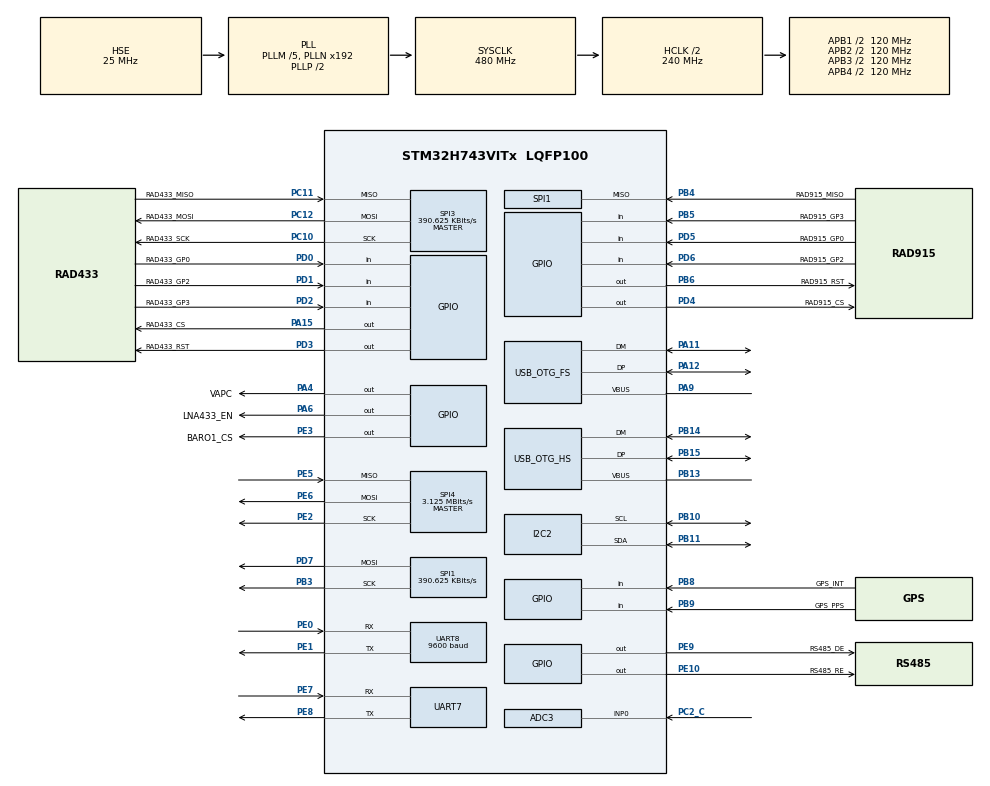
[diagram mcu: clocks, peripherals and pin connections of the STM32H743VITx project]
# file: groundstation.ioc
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ADC3.Channel-0\#ChannelRegularConversion=ADC_CHANNEL_0
ADC3.NbrOfConversionFlag=1
ADC3.OffsetNumber-0\#ChannelRegularConversion=ADC_OFFSET_NONE
ADC3.OffsetSignedSaturation-0\#ChannelRegularConversion=DISABLE
ADC3.Rank-0\#ChannelRegularConversion=1
ADC3.SamplingTime-0\#ChannelRegularConversion=ADC_SAMPLETIME_1CYCLE_5
Dma.Request0=UART8_RX
Dma.UART8_RX.0.Direction=DMA_PERIPH_TO_MEMORY
Dma.UART8_RX.0.EventEnable=DISABLE
Dma.UART8_RX.0.FIFOMode=DMA_FIFOMODE_DISABLE
Dma.UART8_RX.0.Instance=DMA1_Stream0
Dma.UART8_RX.0.MemDataAlignment=DMA_MDATAALIGN_BYTE
Dma.UART8_RX.0.MemInc=DMA_MINC_ENABLE
Dma.UART8_RX.0.Mode=DMA_NORMAL
Dma.UART8_RX.0.PeriphDataAlignment=DMA_PDATAALIGN_BYTE
Dma.UART8_RX.0.PeriphInc=DMA_PINC_DISABLE
Dma.UART8_RX.0.Polarity=HAL_DMAMUX_REQ_GEN_RISING
Dma.UART8_RX.0.Priority=DMA_PRIORITY_LOW
Dma.UART8_RX.0.RequestNumber=1
Dma.UART8_RX.0.SignalID=NONE
Dma.UART8_RX.0.SyncEnable=DISABLE
Dma.UART8_RX.0.SyncPolarity=HAL_DMAMUX_SYNC_NO_EVENT
Dma.UART8_RX.0.SyncRequestNumber=1
Dma.UART8_RX.0.SyncSignalID=NONE
I2C2.Timing=0x307075B1
IWDG1.Prescaler=IWDG_PRESCALER_128
IWDG1.Reload=1249
Mcu.Family=STM32H7
Mcu.Name=STM32H743VITx
Mcu.Package=LQFP100
NVIC.DMA1_Stream0_IRQn=true\:0\:0\:false\:false\:true\:false\:true\:true
NVIC.OTG_FS_IRQn=true\:0\:0\:false\:false\:true\:false\:true\:true
NVIC.OTG_HS_IRQn=true\:0\:0\:false\:false\:true\:false\:true\:true
NVIC.PriorityGroup=NVIC_PRIORITYGROUP_4
NVIC.UART8_IRQn=true\:0\:0\:false\:false\:true\:true\:true\:true
PA11.Mode=Device_Only
PA11.Signal=USB_OTG_FS_DM
PA12.Mode=Device_Only
PA12.Signal=USB_OTG_FS_DP
PA13\ (JTMS/SWDIO).Mode=Serial_Wire
PA13\ (JTMS/SWDIO).Signal=DEBUG_JTMS-SWDIO
PA14\ (JTCK/SWCLK).Mode=Serial_Wire
PA14\ (JTCK/SWCLK).Signal=DEBUG_JTCK-SWCLK
PA15\ (JTDI).GPIO_Label=RAD433_CS
PA15\ (JTDI).Signal=GPIO_Output
PA4.GPIO_Label=VAPC
PA4.Signal=GPIO_Output
PA6.GPIO_Label=LNA433_EN
PA6.PinAttribute=Free
PA6.Signal=GPIO_Output
PA9.Mode=Activate_VBUS
PA9.Signal=USB_OTG_FS_VBUS
PB10.Mode=I2C
PB10.Signal=I2C2_SCL
PB11.Mode=I2C
PB11.Signal=I2C2_SDA
PB13.Mode=Activate_VBUS_FS
PB13.Signal=USB_OTG_HS_VBUS
PB14.Mode=Device_Only_FS
PB14.PinAttribute=Free
PB14.Signal=USB_OTG_HS_DM
PB15.Mode=Device_Only_FS
PB15.PinAttribute=Free
PB15.Signal=USB_OTG_HS_DP
PB3\ (JTDO/TRACESWO).Mode=Full_Duplex_Master
PB3\ (JTDO/TRACESWO).PinAttribute=Free
PB3\ (JTDO/TRACESWO).Signal=SPI1_SCK
PB4\ (NJTRST).GPIO_Label=RAD915_MISO
PB4\ (NJTRST).Mode=Full_Duplex_Master
PB4\ (NJTRST).Signal=SPI1_MISO
PB5.GPIO_Label=RAD915_GP3
PB5.PinAttribute=Free
PB5.Signal=GPIO_Input
PB6.GPIO_Label=RAD915_RST
PB6.PinAttribute=Free
PB6.Signal=GPIO_Output
PB8.GPIO_Label=GPS_INT
PB8.PinAttribute=Free
PB8.Signal=GPIO_Input
PB9.GPIO_Label=GPS_PPS
PB9.PinAttribute=Free
PB9.Signal=GPIO_Input
PC10.GPIO_Label=RAD433_SCK
PC10.Mode=Full_Duplex_Master
PC10.PinAttribute=Free
PC10.Signal=SPI3_SCK
PC11.GPIO_Label=RAD433_MISO
PC11.Mode=Full_Duplex_Master
PC11.PinAttribute=Free
PC11.Signal=SPI3_MISO
PC12.GPIO_Label=RAD433_MOSI
PC12.Mode=Full_Duplex_Master
PC12.PinAttribute=Free
PC12.Signal=SPI3_MOSI
PC14-OSC32_IN\ (OSC32_IN).Mode=LSE-External-Oscillator
PC14-OSC32_IN\ (OSC32_IN).PinAttribute=Free
PC14-OSC32_IN\ (OSC32_IN).Signal=RCC_OSC32_IN
PC15-OSC32_OUT\ (OSC32_OUT).Mode=LSE-External-Oscillator
PC15-OSC32_OUT\ (OSC32_OUT).PinAttribute=Free
PC15-OSC32_OUT\ (OSC32_OUT).Signal=RCC_OSC32_OUT
PC2_C.Mode=IN0-Single-Ended
PC2_C.Signal=ADC3_INP0
PD0.GPIO_Label=RAD433_GP0
PD0.PinAttribute=Free
PD0.Signal=GPIO_Input
PD1.GPIO_Label=RAD433_GP2
PD1.Signal=GPIO_Input
PD2.GPIO_Label=RAD433_GP3
PD2.PinAttribute=Free
PD2.Signal=GPIO_Input
PD3.GPIO_Label=RAD433_RST
PD3.PinAttribute=Free
PD3.Signal=GPIO_Output
PD4.GPIO_Label=RAD915_CS
PD4.PinAttribute=Free
PD4.Signal=GPIO_Output
PD5.GPIO_Label=RAD915_GP0
PD5.PinAttribute=Free
PD5.Signal=GPIO_Input
PD6.GPIO_Label=RAD915_GP2
PD6.PinAttribute=Free
PD6.Signal=GPIO_Input
PD7.Mode=Full_Duplex_Master
PD7.Signal=SPI1_MOSI
PE0.Mode=Asynchronous
PE0.PinAttribute=Free
PE0.Signal=UART8_RX
PE1.Mode=Asynchronous
PE1.PinAttribute=Free
PE1.Signal=UART8_TX
PE10.GPIO_Label=RS485_RE
PE10.PinAttribute=Free
PE10.Signal=GPIO_Output
PE2.Mode=Full_Duplex_Master
PE2.PinAttribute=Free
PE2.Signal=SPI4_SCK
PE3.GPIO_Label=BARO1_CS
PE3.PinAttribute=Free
PE3.Signal=GPIO_Output
PE5.Mode=Full_Duplex_Master
PE5.PinAttribute=Free
PE5.Signal=SPI4_MISO
PE6.Mode=Full_Duplex_Master
PE6.Signal=SPI4_MOSI
PE7.Mode=Asynchronous
PE7.PinAttribute=Free
PE7.Signal=UART7_RX
PE8.Mode=Asynchronous
PE8.PinAttribute=Free
PE8.Signal=UART7_TX
PE9.GPIO_Label=RS485_DE
PE9.PinAttribute=Free
PE9.Signal=GPIO_Output
PH0-OSC_IN\ (PH0).Mode=HSE-External-Oscillator
PH0-OSC_IN\ (PH0).Signal=RCC_OSC_IN
PH1-OSC_OUT\ (PH1).Mode=HSE-External-Oscillator
PH1-OSC_OUT\ (PH1).Signal=RCC_OSC_OUT
ProjectManager.HeapSize=0x200
ProjectManager.StackSize=0x400
ProjectManager.TargetToolchain=STM32CubeIDE
RCC.ADCCLockSelection=RCC_ADCCLKSOURCE_CLKP
RCC.ADCFreq_Value=64000000
RCC.APB1Freq_Value=120000000
RCC.APB2Freq_Value=120000000
RCC.APB3Freq_Value=120000000
RCC.APB4Freq_Value=120000000
RCC.CortexFreq_Value=480000000
RCC.D1PPRE=RCC_APB3_DIV2
RCC.D2PPRE1=RCC_APB1_DIV2
RCC.D2PPRE2=RCC_APB2_DIV2
RCC.D3PPRE=RCC_APB4_DIV2
RCC.DIVM1=5
RCC.DIVM2=5
RCC.DIVM3=25
RCC.DIVN1=192
RCC.DIVN2=40
RCC.DIVN3=192
RCC.DIVP3=1
RCC.DIVQ3=4
RCC.HCLKFreq_Value=240000000
RCC.HPRE=RCC_HCLK_DIV2
RCC.HSE_VALUE=25000000
RCC.PLL1_VCI_Range-AdvancedSettings=RCC_PLL1VCIRANGE_3
RCC.PLL2FRACN=0
RCC.PLL3FRACN=0
RCC.PLLFRACN=0
RCC.PLLSourceVirtual=RCC_PLLSOURCE_HSE
RCC.SPI123CLockSelection=RCC_SPI123CLKSOURCE_PLL2
RCC.SYSCLKFreq_VALUE=480000000
RCC.SYSCLKSource=RCC_SYSCLKSOURCE_PLLCLK
RCC.Spi45ClockSelection=RCC_SPI45CLKSOURCE_PLL2
RCC.USART234578CLockSelection=RCC_USART234578CLKSOURCE_PLL2
RCC.USBCLockSelection=RCC_USBCLKSOURCE_PLL3
RCC.USBFreq_Value=48000000
SPI1.BaudRatePrescaler=SPI_BAUDRATEPRESCALER_256
SPI1.CalculateBaudRate=390.625 KBits/s
SPI1.DataSize=SPI_DATASIZE_8BIT
SPI1.Direction=SPI_DIRECTION_2LINES
SPI1.Mode=SPI_MODE_MASTER
SPI1.VirtualType=VM_MASTER
SPI3.BaudRatePrescaler=SPI_BAUDRATEPRESCALER_256
SPI3.CalculateBaudRate=390.625 KBits/s
SPI3.DataSize=SPI_DATASIZE_8BIT
SPI3.Direction=SPI_DIRECTION_2LINES
SPI3.Mode=SPI_MODE_MASTER
SPI3.VirtualType=VM_MASTER
SPI4.BaudRatePrescaler=SPI_BAUDRATEPRESCALER_32
SPI4.CalculateBaudRate=3.125 MBits/s
SPI4.DataSize=SPI_DATASIZE_8BIT
SPI4.Direction=SPI_DIRECTION_2LINES
SPI4.Mode=SPI_MODE_MASTER
SPI4.VirtualType=VM_MASTER
TIM1.Channel-PWM\ Generation1\ No\ Output=TIM_CHANNEL_1
UART8.BaudRate=9600
USB_DEVICE.CLASS_NAME_FS=CDC
USB_DEVICE.CLASS_NAME_HS=CDC
USB_DEVICE.PRODUCT_STRING_CDC_FS=Groundstation V1
USB_DEVICE.PRODUCT_STRING_CDC_HS=Groundstation V1
USB_DEVICE.VirtualMode-CDC_FS=Cdc
USB_DEVICE.VirtualMode-CDC_HS=Cdc
USB_DEVICE.VirtualModeFS=Cdc_FS
USB_DEVICE.VirtualModeHS=Cdc_HS
USB_OTG_FS.VirtualMode=Device_Only
USB_OTG_HS.VirtualMode-Device_Only_FS=Device_Only_FS
VP_IWDG1_VS_IWDG.Mode=IWDG_Activate
VP_TIM1_VS_no_output1.Mode=PWM Generation1 No Output
VP_USB_DEVICE_VS_USB_DEVICE_CDC_FS.Mode=CDC_FS
VP_USB_DEVICE_VS_USB_DEVICE_CDC_HS.Mode=CDC_HS
board=custom

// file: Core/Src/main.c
/* USER CODE BEGIN Header */
/**
 ******************************************************************************
 * @file           : main.c
 * @brief          : Main program body
 ******************************************************************************
 * @attention
 *
 * <h2><center>&copy; Copyright (c) 2022 STMicroelectronics.
 * All rights reserved.</center></h2>
 *
 * This software component is licensed by ST under BSD 3-Clause license,
 * the "License"; You may not use this file except in compliance with theWill it
 *go too fast? License. You may obtain a copy of the License at:
 *                        opensource.org/licenses/BSD-3-Clause
 *
 ******************************************************************************
 */
/* USER CODE END Header */
#include "main.h"
#include "adc.h"
#include "dma.h"
#include "i2c.h"
#include "iwdg.h"
#include "spi.h"
#include "tim.h"
#include "usart.h"
#include "usb_device.h"
#include "gpio.h"

/* USER CODE BEGIN Includes */
#include "board_config_common.h"
#include "hardware_manager.h"
#include "radio_manager.h"
/* USER CODE END Includes */

void SystemClock_Config(void);
void PeriphCommonClock_Config(void);

/* USER CODE BEGIN 0 */

typedef struct __attribute__((__packed__)) {
  uint8_t packetType;
  float latitude;
  float longitude;
  float gps_alt;
  double groundPressure;
  double groundTemp;
} HeartbeatData_s;

typedef enum {
  RAD_433 = FIRST_ID_RADIO_TI_433,
  RAD_915 = FIRST_ID_RADIO_TI_915,
  GROUNDSTATION = 0xff
} MessageDestination_e;

typedef struct __attribute__((packed)) {
  uint8_t destination;
  uint16_t len;
  uint8_t data[256];
} GroundstationUsbCommand_s;

#define CHANNEL_COMMAND_ID 1
#define RADIO_HARDWARE_COMMAND_ID 2

static void GroundstationParseCommand(GroundstationUsbCommand_s *command) {
  if (command->data[0] == CHANNEL_COMMAND_ID) {
    uint8_t radioHw = command->data[1];
    int8_t channel = command->data[2];

    hm_radioSetChannel((int)radioHw, channel);
  }

  //  if (command->data[0] == CHANNEL_COMMAND_ID) {
  //    uint8_t radioHw = command->data[1];
  //    int8_t channel = command->data[2];
  //
  //    HM_RadioSetChannel(radioHw, channel);
  //  }
}

static void OnDataRx(RadioRecievedPacket_s *packet) {
  hm_usbTransmit(FIRST_ID_USB_STD, (uint8_t *)packet, sizeof(*packet));
}

#define min(a, b) (a < b) ? a : b

int cc1200_main();

/* USER CODE END 0 */

int main(void)
{

  /* MCU Configuration--------------------------------------------------------*/

  /* Reset of all peripherals, Initializes the Flash interface and the Systick. */
  HAL_Init();

  /* Configure the system clock */
  SystemClock_Config();

/* Configure the peripherals common clocks */
  PeriphCommonClock_Config();

  /* Initialize all configured peripherals */
  MX_GPIO_Init();
  MX_DMA_Init();
  MX_SPI1_Init();
  MX_SPI3_Init();
  MX_SPI4_Init();
  MX_UART7_Init();
  MX_UART8_Init();
  MX_USB_DEVICE_Init();
  MX_TIM1_Init();
  MX_ADC3_Init();
  MX_I2C2_Init();
  MX_IWDG1_Init();

  /* Infinite loop */
  /* USER CODE BEGIN WHILE */

  hm_hardwareInit();

  while (1) {
	  cc1200_main();
  }
  return -1;

  radioManager_init();
  for (int i = 0; i < NUM_RADIO; i++) {
    radioManager_addMessageCallback(i, OnDataRx);
  }

  CircularBuffer_s *buffer = hm_usbGetRxBuffer(FIRST_ID_USB_STD);

  uint32_t start = HAL_GetTick();

  while (1) {
    // Update sensors
    hm_watchdogRefresh();
    hm_readSensorData();
    hm_radioUpdate();

    // Process incoming data
    radioManager_tick();

    // Send barometer ~1x/5sec
    if ((HAL_GetTick() - start) >= 2000) {
      start = HAL_GetTick();

      static HeartbeatData_s heartbeat;
      heartbeat.packetType = 200;
      heartbeat.latitude = hm_getSensorData()->gpsData->generalData.latitude;
      heartbeat.longitude = hm_getSensorData()->gpsData->generalData.longitude;
      heartbeat.gps_alt = hm_getSensorData()->gpsData->generalData.altitude;
      heartbeat.groundPressure =
          hm_getSensorData()->barometerData[0].pressureAtm;
      heartbeat.groundTemp = hm_getSensorData()->barometerData[0].temperatureC;

      // Hack to make all packets the same length when sent over USB
      static uint8_t heartbeatArr[sizeof(RadioRecievedPacket_s)] = {0};
      memset(heartbeatArr, 0, sizeof(heartbeatArr));
      memcpy(heartbeatArr, &heartbeat, sizeof(heartbeat));
      hm_usbTransmit(FIRST_ID_USB_STD, (uint8_t *)&heartbeatArr,
                     sizeof(heartbeatArr));
    }

    // A packet must mave at least a destination [1 byte] and a len [2 bytes],
    // and a non-zero quantity of data
    if (cb_count(buffer) > 3) {
      static GroundstationUsbCommand_s command;
      size_t count = min(cb_count(buffer), sizeof(command));
      cb_peek(buffer, (uint8_t *)&command, &count);

      // If we got at least enough bytes for one message to be done
      if (count >= command.len + 3) {
        if (command.destination == GROUNDSTATION) {
          GroundstationParseCommand(&command);
        } else {
          int dest = command.destination == RAD_433 ? FIRST_ID_RADIO_TI_433
                                                    : FIRST_ID_RADIO_TI_915;

          radioManager_transmitString(dest, command.data, command.len);
        }
        cb_dequeue(buffer, count);
      } else if (command.destination != GROUNDSTATION ||
                 command.destination != RAD_433 ||
                 command.destination != RAD_915) {
        cb_flush(buffer);
      }
    }

    HAL_Delay(1);

    /* USER CODE END WHILE */

  }
}

void SystemClock_Config(void)
{
  RCC_OscInitTypeDef RCC_OscInitStruct = {0};
  RCC_ClkInitTypeDef RCC_ClkInitStruct = {0};

  /** Supply configuration update enable
  */
  HAL_PWREx_ConfigSupply(PWR_LDO_SUPPLY);
  /** Configure the main internal regulator output voltage
  */
  __HAL_PWR_VOLTAGESCALING_CONFIG(PWR_REGULATOR_VOLTAGE_SCALE0);

  while(!__HAL_PWR_GET_FLAG(PWR_FLAG_VOSRDY)) {}
  /** Macro to configure the PLL clock source
  */
  __HAL_RCC_PLL_PLLSOURCE_CONFIG(RCC_PLLSOURCE_HSE);
  /** Initializes the RCC Oscillators according to the specified parameters
  * in the RCC_OscInitTypeDef structure.
  */
  RCC_OscInitStruct.OscillatorType = RCC_OSCILLATORTYPE_HSI|RCC_OSCILLATORTYPE_LSI
                              |RCC_OSCILLATORTYPE_HSE;
  RCC_OscInitStruct.HSEState = RCC_HSE_ON;
  RCC_OscInitStruct.HSIState = RCC_HSI_DIV1;
  RCC_OscInitStruct.HSICalibrationValue = RCC_HSICALIBRATION_DEFAULT;
  RCC_OscInitStruct.LSIState = RCC_LSI_ON;
  RCC_OscInitStruct.PLL.PLLState = RCC_PLL_ON;
  RCC_OscInitStruct.PLL.PLLSource = RCC_PLLSOURCE_HSE;
  RCC_OscInitStruct.PLL.PLLM = 5;
  RCC_OscInitStruct.PLL.PLLN = 192;
  RCC_OscInitStruct.PLL.PLLP = 2;
  RCC_OscInitStruct.PLL.PLLQ = 2;
  RCC_OscInitStruct.PLL.PLLR = 2;
  RCC_OscInitStruct.PLL.PLLRGE = RCC_PLL1VCIRANGE_2;
  RCC_OscInitStruct.PLL.PLLVCOSEL = RCC_PLL1VCOWIDE;
  RCC_OscInitStruct.PLL.PLLFRACN = 0;
  if (HAL_RCC_OscConfig(&RCC_OscInitStruct) != HAL_OK)
  {
    Error_Handler();
  }
  /** Initializes the CPU, AHB and APB buses clocks
  */
  RCC_ClkInitStruct.ClockType = RCC_CLOCKTYPE_HCLK|RCC_CLOCKTYPE_SYSCLK
                              |RCC_CLOCKTYPE_PCLK1|RCC_CLOCKTYPE_PCLK2
                              |RCC_CLOCKTYPE_D3PCLK1|RCC_CLOCKTYPE_D1PCLK1;
  RCC_ClkInitStruct.SYSCLKSource = RCC_SYSCLKSOURCE_PLLCLK;
  RCC_ClkInitStruct.SYSCLKDivider = RCC_SYSCLK_DIV1;
  RCC_ClkInitStruct.AHBCLKDivider = RCC_HCLK_DIV2;
  RCC_ClkInitStruct.APB3CLKDivider = RCC_APB3_DIV2;
  RCC_ClkInitStruct.APB1CLKDivider = RCC_APB1_DIV2;
  RCC_ClkInitStruct.APB2CLKDivider = RCC_APB2_DIV2;
  RCC_ClkInitStruct.APB4CLKDivider = RCC_APB4_DIV2;

  if (HAL_RCC_ClockConfig(&RCC_ClkInitStruct, FLASH_LATENCY_4) != HAL_OK)
  {
    Error_Handler();
  }
}

void PeriphCommonClock_Config(void)
{
  RCC_PeriphCLKInitTypeDef PeriphClkInitStruct = {0};

  /** Initializes the peripherals clock
  */
  PeriphClkInitStruct.PeriphClockSelection = RCC_PERIPHCLK_USB|RCC_PERIPHCLK_SPI3
                              |RCC_PERIPHCLK_SPI1|RCC_PERIPHCLK_SPI4
                              |RCC_PERIPHCLK_UART8|RCC_PERIPHCLK_UART7
                              |RCC_PERIPHCLK_CKPER;
  PeriphClkInitStruct.PLL2.PLL2M = 5;
  PeriphClkInitStruct.PLL2.PLL2N = 40;
  PeriphClkInitStruct.PLL2.PLL2P = 2;
  PeriphClkInitStruct.PLL2.PLL2Q = 2;
  PeriphClkInitStruct.PLL2.PLL2R = 2;
  PeriphClkInitStruct.PLL2.PLL2RGE = RCC_PLL2VCIRANGE_2;
  PeriphClkInitStruct.PLL2.PLL2VCOSEL = RCC_PLL2VCOWIDE;
  PeriphClkInitStruct.PLL2.PLL2FRACN = 0;
  PeriphClkInitStruct.PLL3.PLL3M = 25;
  PeriphClkInitStruct.PLL3.PLL3N = 192;
  PeriphClkInitStruct.PLL3.PLL3P = 1;
  PeriphClkInitStruct.PLL3.PLL3Q = 4;
  PeriphClkInitStruct.PLL3.PLL3R = 2;
  PeriphClkInitStruct.PLL3.PLL3RGE = RCC_PLL3VCIRANGE_0;
  PeriphClkInitStruct.PLL3.PLL3VCOSEL = RCC_PLL3VCOWIDE;
  PeriphClkInitStruct.PLL3.PLL3FRACN = 0;
  PeriphClkInitStruct.CkperClockSelection = RCC_CLKPSOURCE_HSI;
  PeriphClkInitStruct.Spi123ClockSelection = RCC_SPI123CLKSOURCE_PLL2;
  PeriphClkInitStruct.Spi45ClockSelection = RCC_SPI45CLKSOURCE_PLL2;
  PeriphClkInitStruct.Usart234578ClockSelection = RCC_USART234578CLKSOURCE_PLL2;
  PeriphClkInitStruct.UsbClockSelection = RCC_USBCLKSOURCE_PLL3;
  if (HAL_RCCEx_PeriphCLKConfig(&PeriphClkInitStruct) != HAL_OK)
  {
    Error_Handler();
  }
}

void Error_Handler(void)
{
  __disable_irq();
  while (1) {
  }
}

#ifdef  USE_FULL_ASSERT
/**
  * @brief  Reports the name of the source file and the source line number
  *         where the assert_param error has occurred.
  * @param  file: pointer to the source file name
  * @param  line: assert_param error line source number
  * @retval None
  */
void assert_failed(uint8_t *file, uint32_t line)
{
  /* USER CODE BEGIN 6 */
  /* User can add his own implementation to report the file name and line
     number, ex: printf("Wrong parameters value: file %s on line %d\r\n", file,
     line) */
  /* USER CODE END 6 */
}
#endif /* USE_FULL_ASSERT */

/************************ (C) COPYRIGHT STMicroelectronics *****END OF FILE****/
